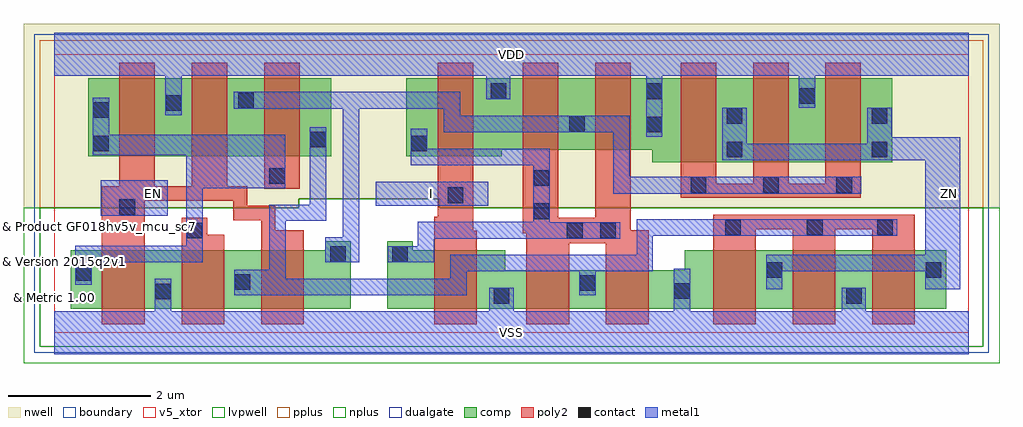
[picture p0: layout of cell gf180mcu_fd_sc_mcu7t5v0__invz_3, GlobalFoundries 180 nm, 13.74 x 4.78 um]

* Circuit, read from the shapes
.subckt gf180mcu_fd_sc_mcu7t5v0__invz_3 EN I VDD VSS ZN
XM1 VSS EN n1 VSUBS nfet_05v0 w=0.82u l=0.6u
XM2 n2 n1 VSS VSUBS nfet_05v0 w=0.82u l=0.6u
XM3 n3 EN n2 VSUBS nfet_05v0 w=0.82u l=0.6u
XM4 VSS I n4 VSUBS nfet_05v0 w=0.82u l=0.6u
XM5 n2 n4 VSS VSUBS nfet_05v0 w=0.54u l=0.6u m=2
XM6 ZN n2 VSS VSUBS nfet_05v0 w=0.82u l=0.6u m=3
XM7 VDD EN n1 n5 pfet_05v0 w=1.095u l=0.5u
XM8 n3 EN VDD n5 pfet_05v0 w=1.095u l=0.5u
XM9 n2 n1 n3 n5 pfet_05v0 w=1.095u l=0.5u
XM10 VDD I n4 n5 pfet_05v0 w=1.095u l=0.5u
XM11 n3 n4 VDD n5 pfet_05v0 w=1.005u l=0.5u m=2
XM12 ZN n3 VDD n5 pfet_05v0 w=1.18u l=0.5u m=3
.ends

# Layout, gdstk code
import gdstk
lib = gdstk.Library(unit=1e-6, precision=1e-09)
def R(c, l, rs):  # rectangles x0, y0, x1, y1
    for r in rs: c.add(gdstk.rectangle(r[:2], r[2:], *l))
def P(c, l, *ps):  # polygons
    for p in ps: c.add(gdstk.Polygon(p, *l))
boundary = (0, 0)
nwell = (21, 0)
comp = (22, 0)
poly2 = (30, 0)
pplus = (31, 0)
nplus = (32, 0)
contact = (33, 0)
metal1 = (34, 0)
dualgate = (55, 0)
v5_xtor = (112, 1)
lvpwell = (204, 0)

gf180mcu_fd_sc_mcu7t5v0_ = lib.new_cell('gf180mcu_fd_sc_mcu7t5v0__invz_3')
R(gf180mcu_fd_sc_mcu7t5v0_, boundary, [(0,0,12.88,3.92)])
P(gf180mcu_fd_sc_mcu7t5v0_, nwell, [(-0.43,1.76),(-0.43,4.35),(13.31,4.35),(13.31,1.76),(5.42,1.76),(5.42,1.885),(3.445,1.885),(3.445,1.76)])
R(gf180mcu_fd_sc_mcu7t5v0_, comp, [(0.48,2.485,3.9,3.58)])
P(gf180mcu_fd_sc_mcu7t5v0_, comp, [(0.235,0.34),(0.235,1.16),(3.815,1.16),(3.815,1.285),(4.175,1.285),(4.175,0.34)],
  [(8.42,2.4),(8.42,2.575),(6.3,2.575),(6.3,2.485),(4.96,2.485),(4.96,3.58),(11.8,3.58),(11.8,2.4)],
  [(4.69,0.34),(4.69,1.285),(5.05,1.285),(5.05,1.16),(6.35,1.16),(6.35,0.88),(8.88,0.88),(8.88,1.16),(12.56,1.16),(12.56,0.34)])
R(gf180mcu_fd_sc_mcu7t5v0_, poly2, [(2.96,2.025,3.46,3.8)])
P(gf180mcu_fd_sc_mcu7t5v0_, poly2, [(1.795,0.12),(1.795,1.62),(2.155,1.62),(2.155,1.38),(2.395,1.38),(2.395,0.12)],
  [(0.675,0.12),(0.675,2.06),(0.92,2.06),(0.92,3.8),(1.42,3.8),(1.42,2.06),(1.94,2.06),(1.94,3.8),(2.44,3.8),(2.44,2.06),(2.72,2.06),(2.72,1.785),(3.115,1.785),(3.115,1.44),(3.515,1.44),(3.515,0.12),(2.915,0.12),(2.915,1.585),(2.52,1.585),(2.52,1.86),(1.275,1.86),(1.275,0.12)],
  [(5.35,0.12),(5.35,1.63),(5.4,1.63),(5.4,3.8),(5.9,3.8),(5.9,1.435),(5.95,1.435),(5.95,0.12)],
  [(6.65,0.12),(6.65,1.4),(6.6,1.4),(6.6,3.8),(7.1,3.8),(7.1,1.62),(7.62,1.62),(7.62,3.8),(8.12,3.8),(8.12,1.44),(8.37,1.44),(8.37,0.12),(7.77,0.12),(7.77,1.26),(7.25,1.26),(7.25,0.12)],
  [(8.82,1.9),(8.82,3.8),(9.32,3.8),(9.32,2.1),(9.84,2.1),(9.84,3.8),(10.34,3.8),(10.34,2.1),(10.86,2.1),(10.86,3.8),(11.36,3.8),(11.36,1.9)],
  [(9.28,0.12),(9.28,1.66),(12.12,1.66),(12.12,0.12),(11.52,0.12),(11.52,1.46),(11,1.46),(11,0.12),(10.4,0.12),(10.4,1.46),(9.88,1.46),(9.88,0.12)])
P(gf180mcu_fd_sc_mcu7t5v0_, pplus, [(-0.2,1.76),(-0.2,4.12),(13.08,4.12),(13.08,1.76),(5.42,1.76),(5.42,1.885),(3.445,1.885),(3.445,1.76)])
P(gf180mcu_fd_sc_mcu7t5v0_, nplus, [(-0.2,-0.2),(-0.2,1.76),(3.445,1.76),(3.445,1.885),(5.42,1.885),(5.42,1.76),(13.08,1.76),(13.08,-0.2)])
R(gf180mcu_fd_sc_mcu7t5v0_, contact, [(6.19,0.41,6.41,0.63), (11.15,0.41,11.37,0.63), (1.425,0.47,1.645,0.69), (8.73,0.48,8.95,0.7), (7.4,0.59,7.62,0.81), (2.545,0.605,2.765,0.825), (0.305,0.735,0.525,0.955), (10.03,0.775,10.25,0.995), (12.27,0.775,12.49,0.995), (3.885,0.995,4.105,1.215), (4.76,0.995,4.98,1.215), (1.865,1.33,2.085,1.55), (7.22,1.33,7.44,1.55), (7.69,1.33,7.91,1.55), (9.45,1.37,9.67,1.59), (10.6,1.37,10.82,1.59), (11.59,1.37,11.81,1.59), (6.75,1.6,6.97,1.82), (0.92,1.66,1.14,1.88), (5.54,1.825,5.76,2.045), (8.96,1.97,9.18,2.19), (9.985,1.97,10.205,2.19), (11.015,1.97,11.235,2.19), (6.75,2.07,6.97,2.29), (3.03,2.095,3.25,2.315), (9.47,2.47,9.69,2.69), (11.51,2.47,11.73,2.69), (0.55,2.555,0.77,2.775), (5.03,2.555,5.25,2.775), (3.61,2.61,3.83,2.83), (8.34,2.82,8.56,3.04), (7.25,2.83,7.47,3.05), (9.47,2.94,9.69,3.16), (11.51,2.94,11.73,3.16), (0.55,3.025,0.77,3.245), (1.57,3.125,1.79,3.345), (2.59,3.16,2.81,3.38), (10.49,3.225,10.71,3.445), (6.145,3.29,6.365,3.51), (8.34,3.29,8.56,3.51)])
R(gf180mcu_fd_sc_mcu7t5v0_, metal1, [(0.66,1.65,1.6,2.15), (4.53,1.79,6.11,2.125)])
P(gf180mcu_fd_sc_mcu7t5v0_, metal1, [(0.3,0.675),(0.3,1.225),(1.86,1.225),(1.86,2.495),(0.545,2.495),(0.545,3.305),(0.775,3.305),(0.775,2.79),(3.255,2.79),(3.255,2.035),(2.09,2.035),(2.09,0.99),(0.53,0.99),(0.53,0.675)],
  [(4.7,0.99),(4.7,1.22),(5.12,1.22),(5.12,1.56),(6.745,1.56),(6.745,2.355),(5.025,2.355),(5.025,2.87),(5.255,2.87),(5.255,2.59),(6.975,2.59),(6.975,1.555),(7.97,1.555),(7.97,1.325),(5.35,1.325),(5.35,0.99)],
  [(3.815,0.99),(3.815,1.345),(4.065,1.345),(4.065,3.155),(2.53,3.155),(2.53,3.39),(5.715,3.39),(5.715,3.055),(8.105,3.055),(8.105,2.195),(11.365,2.195),(11.365,1.96),(7.875,1.96),(7.875,2.825),(5.485,2.825),(5.485,3.155),(4.295,3.155),(4.295,0.99)],
  [(2.54,0.53),(2.54,0.885),(3.03,0.885),(3.03,1.805),(3.6,1.805),(3.6,2.89),(3.835,2.89),(3.835,1.575),(3.26,1.575),(3.26,0.76),(5.58,0.76),(5.58,1.095),(8.2,1.095),(8.2,1.595),(11.87,1.595),(11.87,1.365),(8.43,1.365),(8.43,0.865),(7.625,0.865),(7.625,0.53),(7.395,0.53),(7.395,0.865),(5.81,0.865),(5.81,0.53)],
  [(12.265,0.61),(12.265,0.865),(10.255,0.865),(10.255,0.615),(10.025,0.615),(10.025,1.1),(12.265,1.1),(12.265,2.425),(9.41,2.425),(9.41,3.165),(9.75,3.165),(9.75,2.66),(11.45,2.66),(11.45,3.165),(11.79,3.165),(11.79,2.75),(12.76,2.75),(12.76,0.61)],
  [(0,-0.3),(0,0.3),(1.42,0.3),(1.42,0.76),(1.65,0.76),(1.65,0.3),(6.13,0.3),(6.13,0.635),(6.47,0.635),(6.47,0.3),(8.725,0.3),(8.725,0.9),(8.955,0.9),(8.955,0.3),(11.09,0.3),(11.09,0.635),(11.43,0.635),(11.43,0.3),(12.88,0.3),(12.88,-0.3)],
  [(8.335,2.76),(8.335,3.62),(6.425,3.62),(6.425,3.285),(6.085,3.285),(6.085,3.62),(1.795,3.62),(1.795,3.065),(1.565,3.065),(1.565,3.62),(0,3.62),(0,4.22),(12.88,4.22),(12.88,3.62),(10.715,3.62),(10.715,3.165),(10.485,3.165),(10.485,3.62),(8.565,3.62),(8.565,2.76)])
R(gf180mcu_fd_sc_mcu7t5v0_, dualgate, [(-0.28,-0.28,13.16,4.2)])
R(gf180mcu_fd_sc_mcu7t5v0_, v5_xtor, [(0,0,12.88,3.92)])
P(gf180mcu_fd_sc_mcu7t5v0_, lvpwell, [(-0.43,-0.43),(-0.43,1.76),(3.445,1.76),(3.445,1.885),(5.42,1.885),(5.42,1.76),(13.31,1.76),(13.31,-0.43)])
gf180mcu_fd_sc_mcu7t5v0_.add(gdstk.Label('VDD', (6.44,3.92), layer=34, texttype=10))
gf180mcu_fd_sc_mcu7t5v0_.add(gdstk.Label('VSS', (6.44,0), layer=34, texttype=10))
gf180mcu_fd_sc_mcu7t5v0_.add(gdstk.Label('ZN', (12.6,1.96), layer=34, texttype=10))
gf180mcu_fd_sc_mcu7t5v0_.add(gdstk.Label('EN', (1.4,1.96), layer=34, texttype=10))
gf180mcu_fd_sc_mcu7t5v0_.add(gdstk.Label('I', (5.32,1.96), layer=34, texttype=10))
gf180mcu_fd_sc_mcu7t5v0_.add(gdstk.Label('& Vendor GLOBALFOUNDRIES', (0,2), layer=63, texttype=63))
gf180mcu_fd_sc_mcu7t5v0_.add(gdstk.Label('& Product GF018hv5v_mcu_sc7', (0,1.5), layer=63, texttype=63))
gf180mcu_fd_sc_mcu7t5v0_.add(gdstk.Label('& Version 2015q2v1', (0,1), layer=63, texttype=63))
gf180mcu_fd_sc_mcu7t5v0_.add(gdstk.Label('& Metric 1.00', (0,0.5), layer=63, texttype=63))

lib.write_gds('gf180mcu_fd_sc_mcu7t5v0__invz_3.gds')
